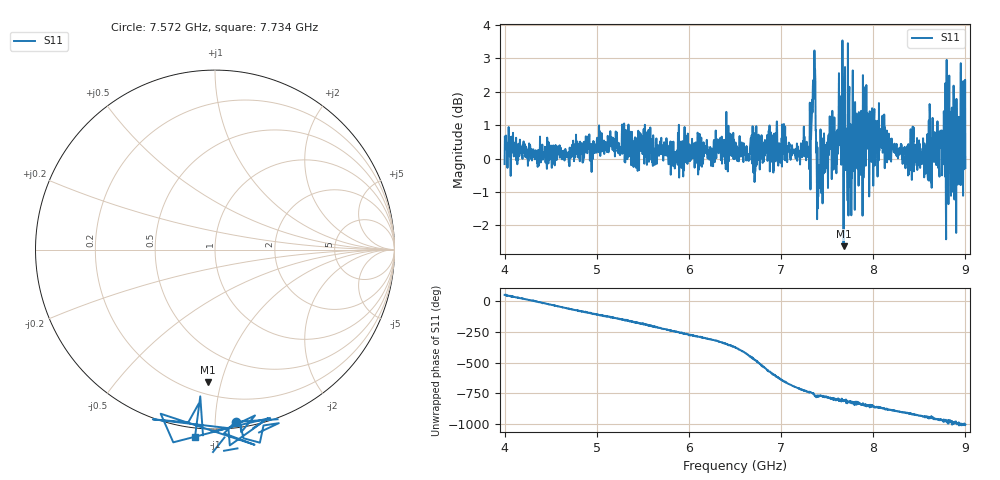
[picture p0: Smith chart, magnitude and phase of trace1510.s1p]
! Created with skrf 1.8.0 (http://scikit-rf.org).
# Hz S RI R 50.0
!freq ReS11 ImS11
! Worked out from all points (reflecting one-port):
!   1601 points, 4 GHz to 9 GHz, reference 50 ohm
!   lowest |S11| = -2.6 dB at 7.678 GHz (marker M1), VSWR 6.68, Z = 13.9 - j45.4 ohm
!   phase of S11 starts at 50 deg and turns -1052 deg over the sweep
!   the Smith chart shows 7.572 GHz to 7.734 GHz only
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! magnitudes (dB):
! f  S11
! 4 GHz  -0.2
! 4.625 GHz  0.0
! 5.25 GHz  0.1
! 5.875 GHz  0.2
! 6.5 GHz  0.0
! 7.125 GHz  0.2
! 7.294 GHz  0.1
! 7.353 GHz  2.3
! 7.4 GHz  -0.2
! 7.412 GHz  -0.7
! 7.538 GHz  0.9
! 7.594 GHz  0.8
! 7.65 GHz  1.9
! 7.678 GHz  -2.6
! 7.75 GHz  -0.1
! 7.769 GHz  -0.6
! 7.803 GHz  1.7
! 7.881 GHz  1.0
! 7.928 GHz  0.8
! 7.981 GHz  -0.1
! 8.097 GHz  0.5
! 8.375 GHz  0.1
! 8.759 GHz  0.5
! 8.766 GHz  1.4
! 8.819 GHz  -0.3
! 8.919 GHz  -0.5
! 8.972 GHz  0.5
! 9 GHz  -0.3
